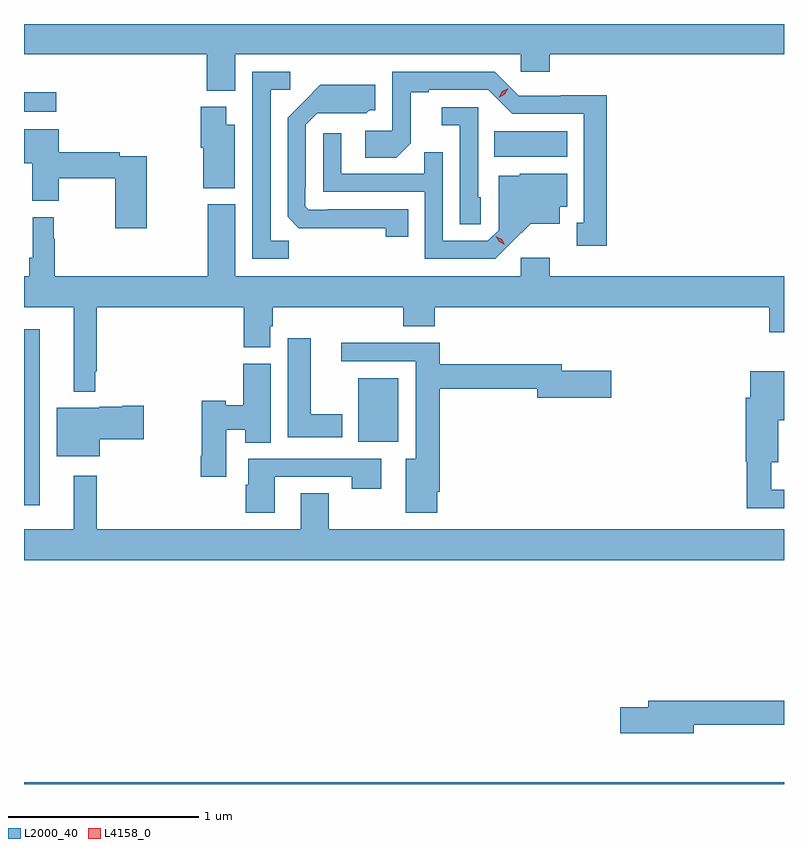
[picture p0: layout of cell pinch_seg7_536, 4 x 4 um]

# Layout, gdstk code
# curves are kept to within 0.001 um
import gdstk
lib = gdstk.Library(unit=1e-6, precision=1e-09)
def R(c, l, rs):  # rectangles x0, y0, x1, y1
    for r in rs: c.add(gdstk.rectangle(r[:2], r[2:], *l))
def P(c, l, *ps):  # polygons
    for p in ps: c.add(gdstk.Polygon(p, *l))
L2000_40 = (2000, 40)
L4158_0 = (4158, 0)

pinch_seg7_536 = lib.new_cell('pinch_seg7_536')
R(pinch_seg7_536, L2000_40, [(169.747,1042.063,173.747,1042.072), (169.747,1043.529,169.831,1044.457), (171.506,1043.864,171.718,1044.199), (172.222,1045.364,172.606,1045.498), (169.747,1045.601,169.918,1045.705)])
P(pinch_seg7_536, L2000_40, [(170.86,1045.904),(172.362,1045.904),(172.362,1045.811),(172.514,1045.811),(172.514,1045.904),(173.747,1045.904),(173.747,1046.063),(169.747,1046.063),(169.747,1045.904),(170.708,1045.904),(170.708,1045.712),(170.86,1045.712)],
  [(172.813,1045.688),(172.572,1045.688),(172.572,1045.686),(172.35,1045.686),(172.224,1045.812),(171.684,1045.812),(171.684,1045.5),(171.543,1045.5),(171.543,1045.36),(171.707,1045.36),(171.783,1045.436),(171.783,1045.704),(171.877,1045.704),(171.877,1045.716),(172.191,1045.716),(172.317,1045.59),(172.694,1045.59),(172.694,1045.017),(172.655,1045.017),(172.655,1044.897),(172.813,1044.897)],
  [(171.141,1044.923),(171.045,1044.923),(171.045,1045.716),(171.148,1045.716),(171.148,1045.812),(170.949,1045.812),(170.949,1044.828),(171.141,1044.828)],
  [(171.77,1045.089),(171.346,1045.089),(171.346,1045.086),(171.246,1045.086),(171.228,1045.104),(171.228,1045.204),(171.231,1045.204),(171.231,1045.533),(171.291,1045.593),(171.548,1045.592),(171.564,1045.608),(171.595,1045.608),(171.595,1045.744),(171.307,1045.744),(171.135,1045.57),(171.135,1045.048),(171.194,1044.989),(171.652,1044.988),(171.652,1044.942),(171.77,1044.942)],
  [(170.857,1045.534),(170.812,1045.534),(170.812,1045.627),(170.678,1045.627),(170.678,1045.413),(170.69,1045.413),(170.69,1045.199),(170.857,1045.199)],
  [(172.152,1045.152),(172.137,1045.152),(172.137,1045.626),(171.945,1045.626),(171.945,1045.529),(172.041,1045.529),(172.041,1045.009),(172.152,1045.009)],
  [(170.394,1045.368),(170.252,1045.368),(170.252,1045.388),(169.93,1045.388),(169.93,1045.51),(169.747,1045.51),(169.747,1045.331),(169.79,1045.331),(169.79,1045.134),(169.93,1045.134),(169.93,1045.252),(170.228,1045.252),(170.228,1044.987),(170.394,1044.987)],
  [(172.312,1044.911),(172.415,1045.013),(172.567,1045.013),(172.567,1045.1),(172.606,1045.1),(172.606,1045.276),(172.356,1045.276),(172.356,1045.264),(172.245,1045.264),(172.245,1044.978),(172.188,1044.921),(171.951,1044.921),(171.951,1045.388),(171.853,1045.388),(171.853,1045.275),(171.417,1045.275),(171.417,1045.489),(171.321,1045.489),(171.321,1045.179),(171.855,1045.179),(171.855,1044.828),(172.228,1044.828)],
  [(170.123,1044.235),(170.131,1044.235),(170.131,1044.572),(170.903,1044.572),(170.903,1044.361),(171.043,1044.361),(171.043,1044.471),(171.056,1044.471),(171.056,1044.572),(171.743,1044.572),(171.743,1044.473),(171.908,1044.473),(171.908,1044.572),(173.669,1044.572),(173.669,1044.441),(173.747,1044.441),(173.747,1044.736),(172.514,1044.736),(172.514,1044.832),(172.362,1044.832),(172.362,1044.736),(170.86,1044.736),(170.86,1045.114),(170.713,1045.114),(170.713,1044.736),(169.91,1044.736),(169.91,1044.932),(169.903,1044.932),(169.903,1045.045),(169.794,1045.045),(169.794,1044.832),(169.774,1044.832),(169.774,1044.736),(169.747,1044.736),(169.747,1044.572),(170.009,1044.572),(170.009,1044.128),(170.123,1044.128)],
  [(171.421,1044.01),(171.256,1044.01),(171.256,1044.409),(171.134,1044.409),(171.134,1043.888),(171.421,1043.888)],
  [(171.922,1043.602),(171.935,1043.602),(171.935,1044.142),(172.448,1044.142),(172.448,1044.095),(172.837,1044.095),(172.837,1044.237),(172.576,1044.237),(172.576,1044.271),(171.935,1044.271),(171.935,1044.386),(171.417,1044.386),(171.417,1044.288),(171.809,1044.288),(171.809,1043.776),(171.755,1043.776),(171.755,1043.49),(171.922,1043.49)],
  [(170.812,1043.927),(170.912,1043.927),(170.912,1043.86),(171.046,1043.86),(171.046,1044.276),(170.9,1044.276),(170.9,1044.057),(170.808,1044.057),(170.808,1044.08),(170.683,1044.08),(170.683,1043.791),(170.678,1043.791),(170.678,1043.679),(170.812,1043.679)],
  [(173.747,1043.611),(173.68,1043.611),(173.68,1043.756),(173.716,1043.756),(173.716,1043.978),(173.747,1043.978),(173.747,1044.235),(173.57,1044.235),(173.57,1044.096),(173.546,1044.096),(173.546,1043.76),(173.551,1043.76),(173.551,1043.514),(173.747,1043.514)],
  [(170.146,1043.878),(170.377,1043.878),(170.377,1044.055),(170.264,1044.055),(170.264,1044.049),(170.142,1044.049),(170.142,1044.043),(169.919,1044.043),(169.919,1043.789),(170.146,1043.789)],
  [(171.067,1043.679),(171.472,1043.679),(171.472,1043.616),(171.628,1043.616),(171.628,1043.775),(170.927,1043.775),(170.927,1043.637),(170.915,1043.637),(170.915,1043.49),(171.067,1043.49)],
  [(173.747,1043.404),(171.351,1043.404),(171.351,1043.594),(171.203,1043.594),(171.203,1043.404),(170.131,1043.404),(170.131,1043.686),(170.009,1043.686),(170.009,1043.404),(169.747,1043.404),(169.747,1043.24),(173.747,1043.24)],
  [(173.272,1042.374),(173.747,1042.374),(173.747,1042.502),(173.033,1042.502),(173.033,1042.466),(172.884,1042.466),(172.884,1042.331),(173.272,1042.331)])
P(pinch_seg7_536, L4158_0, [(172.278,1044.901),(172.247,1044.916),(172.229,1044.946),(172.229,1044.946),(172.23,1044.946),(172.261,1044.931),(172.278,1044.902),(172.278,1044.901)],
  [(172.245,1045.675),(172.245,1045.676),(172.263,1045.708),(172.295,1045.726),(172.296,1045.726),(172.296,1045.725),(172.277,1045.693),(172.245,1045.675)])

lib.write_gds('pinch_seg7_536.gds')
